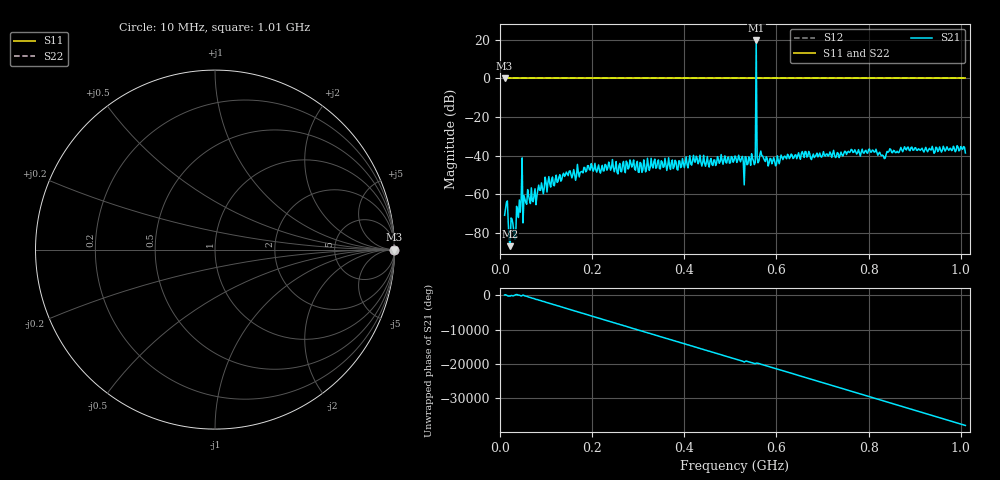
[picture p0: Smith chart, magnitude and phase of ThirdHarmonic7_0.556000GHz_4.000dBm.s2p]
! 8/17/2025 4:57:38 PM
! C:\ANRITSUVNA\TEMP\TEMP.S2P
! CHANNEL.1
! TR.MEASUREMENT
! RAW.DATA
! RF.CORRECTION.OFF
! AVERAGING.OFF
! IF.BANDWIDTH: 5KHZ
! SWEEPTYPE:  FREQ.SWEEP(Linear)
! Reference Plane Port Info
! PORT:  PORT1  PORT2
! DISTANCE:  0  m  0  m
! TIME:  0  s  0  s
! PHASE.OFFSET:  0  deg.  0  deg.
! LOSS:  0  dB  0  dB
! REF.LOSS:  0  dB  0  dB
! REF.FREQ:  0  Hz  0  Hz
! Power Info
! POWER:  -20  dBm  -20  dBm
! EFF.POWER:  -20  dBm  -20  dBm
! SOURCE.ATTEN:  0  dB  0  dB
! TEST.ATTEN:  0  dB  0  dB
# GHZ S RI R 50.0
! FREQ.GHZ  S11RE  S11IM  S21RE  S21IM  S12RE  S12IM  S22RE  S22IM
!; PortSelection: Port_12
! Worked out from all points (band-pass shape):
!   501 points, 10 MHz to 1.01 GHz, reference 50 ohm
!   highest |S21| = 19.67 dB at 556 MHz (marker M1); lowest = -87.0 dB at 22 MHz (marker M2)
!   |S21| within 3 dB of the highest: 555.9052 MHz to 556.099 MHz (193.8 kHz wide, 0.0349 % of centre)
!   lowest |S11| = 0.0 dB at 10 MHz (marker M3)
!   |S11| at or under -10 dB: nowhere
!   |S22| runs from 0.0 to 0.0 dB; largest |S21 - S12| = 8.9
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0.01  1 0  3.73e-05 0.000281  1 0  1 0
0.014  1 0  0.000569 0.000225  1 0  1 0
0.022  1 0  -3.3e-06 4.48e-05  1 0  1 0
0.03  1 0  -3.76e-05 -0.0001  1 0  1 0
0.042  1 0  0.000636 0.000306  1 0  1 0
0.044  1 0  6.8e-06 -0.000341  1 0  1 0
0.05  1 0  5.7e-05 0.000171  1 0  1 0
0.054  1 0  -0.000728 0.000192  1 0  1 0
0.056  1 0  -0.00016 0.000582  1 0  1 0
0.074  1 0  -0.000349 0.000867  1 0  1 0
0.102  1 0  0.00101 0.000511  1 0  1 0
0.178  1 0  -0.00365 -0.00129  1 0  1 0
0.344  1 0  0.00752 -0.00165  1 0  1 0
0.51  1 0  -0.00947 -0.0024  1 0  1 0
0.55  1 0  0.00712 0.00201  1 0  1 0
0.552  1 0  0.00297 -0.00503  1 0  1 0
0.556  1 0  7.471 6.073  1 0  1 0
0.56  1 0  0.00652 -7.36e-05  1 0  1 0
0.562  1 0  0.00218 -0.007  1 0  1 0
0.678  1 0  0.00543 -0.00786  1 0  1 0
0.844  1 0  -0.00571 0.0114  1 0  1 0
1.01  1 0  -0.00149 -0.0116  1 0  1 0
